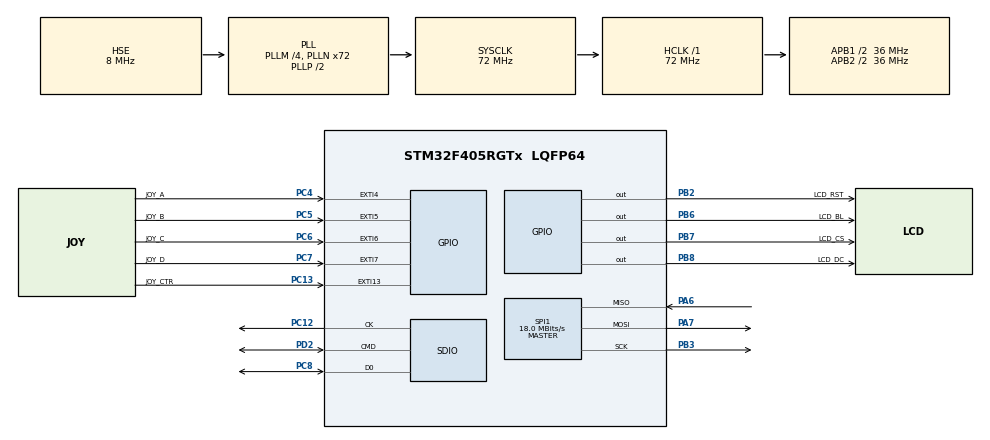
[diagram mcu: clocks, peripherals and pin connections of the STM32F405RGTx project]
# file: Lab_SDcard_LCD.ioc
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Mcu.Family=STM32F4
Mcu.Name=STM32F405RGTx
Mcu.Package=LQFP64
NVIC.EXTI15_10_IRQn=true\:1\:0\:true\:false\:true\:true\:true\:true
NVIC.EXTI4_IRQn=true\:1\:0\:true\:false\:true\:true\:true\:true
NVIC.EXTI9_5_IRQn=true\:1\:0\:true\:false\:true\:true\:true\:true
NVIC.PriorityGroup=NVIC_PRIORITYGROUP_4
NVIC.SDIO_IRQn=true\:0\:0\:false\:false\:true\:true\:true\:true
NVIC.SPI1_IRQn=true\:0\:0\:false\:false\:true\:true\:true\:true
PA13.Mode=Serial_Wire
PA13.Signal=SYS_JTMS-SWDIO
PA14.Mode=Serial_Wire
PA14.Signal=SYS_JTCK-SWCLK
PA6.Mode=Full_Duplex_Master
PA6.Signal=SPI1_MISO
PA7.Mode=Full_Duplex_Master
PA7.Signal=SPI1_MOSI
PB2.GPIO_Label=LCD_RST
PB2.Signal=GPIO_Output
PB3.Mode=Full_Duplex_Master
PB3.Signal=SPI1_SCK
PB6.GPIO_Label=LCD_BL
PB6.Signal=GPIO_Output
PB7.GPIO_Label=LCD_CS
PB7.Signal=GPIO_Output
PB8.GPIO_Label=LCD_DC
PB8.Signal=GPIO_Output
PC12.Mode=SD_1_bit
PC12.Signal=SDIO_CK
PC13-ANTI_TAMP.GPIO_Label=JOY_CTR
PC13-ANTI_TAMP.GPIO_ModeDefaultEXTI=GPIO_MODE_IT_FALLING
PC13-ANTI_TAMP.GPIO_PuPd=GPIO_PULLUP
PC13-ANTI_TAMP.Signal=GPXTI13
PC4.GPIO_Label=JOY_A
PC4.GPIO_ModeDefaultEXTI=GPIO_MODE_IT_FALLING
PC4.GPIO_PuPd=GPIO_PULLUP
PC4.Signal=GPXTI4
PC5.GPIO_Label=JOY_B
PC5.GPIO_ModeDefaultEXTI=GPIO_MODE_IT_FALLING
PC5.GPIO_PuPd=GPIO_PULLUP
PC5.Signal=GPXTI5
PC6.GPIO_Label=JOY_C
PC6.GPIO_ModeDefaultEXTI=GPIO_MODE_IT_FALLING
PC6.GPIO_PuPd=GPIO_PULLUP
PC6.Signal=GPXTI6
PC7.GPIO_Label=JOY_D
PC7.GPIO_ModeDefaultEXTI=GPIO_MODE_IT_FALLING
PC7.GPIO_PuPd=GPIO_PULLUP
PC7.Signal=GPXTI7
PC8.Mode=SD_1_bit
PC8.Signal=SDIO_D0
PD2.Mode=SD_1_bit
PD2.Signal=SDIO_CMD
PH0-OSC_IN.Mode=HSE-External-Oscillator
PH0-OSC_IN.Signal=RCC_OSC_IN
PH1-OSC_OUT.Mode=HSE-External-Oscillator
PH1-OSC_OUT.Signal=RCC_OSC_OUT
ProjectManager.HeapSize=0x200
ProjectManager.StackSize=0x400
ProjectManager.TargetToolchain=STM32CubeIDE
RCC.48MHZClocksFreq_Value=48000000
RCC.AHBFreq_Value=72000000
RCC.APB1CLKDivider=RCC_HCLK_DIV2
RCC.APB1Freq_Value=36000000
RCC.APB1TimFreq_Value=72000000
RCC.APB2CLKDivider=RCC_HCLK_DIV2
RCC.APB2Freq_Value=36000000
RCC.APB2TimFreq_Value=72000000
RCC.CortexFreq_Value=72000000
RCC.HCLKFreq_Value=72000000
RCC.HSE_VALUE=8000000
RCC.HSI_VALUE=16000000
RCC.LSE_VALUE=32768
RCC.PLLM=4
RCC.PLLN=72
RCC.PLLQ=3
RCC.PLLSourceVirtual=RCC_PLLSOURCE_HSE
RCC.SYSCLKFreq_VALUE=72000000
RCC.SYSCLKSource=RCC_SYSCLKSOURCE_PLLCLK
RCC.VCOOutputFreq_Value=144000000
SDIO.ClockDiv=10
SPI1.BaudRatePrescaler=SPI_BAUDRATEPRESCALER_2
SPI1.CLKPolarity=SPI_POLARITY_HIGH
SPI1.CalculateBaudRate=18.0 MBits/s
SPI1.Direction=SPI_DIRECTION_2LINES
SPI1.Mode=SPI_MODE_MASTER
SPI1.VirtualType=VM_MASTER
VP_FATFS_VS_SDIO.Mode=SDIO
board=custom

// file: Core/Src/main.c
/* USER CODE BEGIN Header */
/**
  ******************************************************************************
  * @file           : main.c
  * @brief          : Main program body
  ******************************************************************************
  * @attention
  *
  * Copyright (c) 2023 STMicroelectronics.
  * All rights reserved.
  *
  * This software is licensed under terms that can be found in the LICENSE file
  * in the root directory of this software component.
  * If no LICENSE file comes with this software, it is provided AS-IS.
  *
  ******************************************************************************
  */
/* USER CODE END Header */
#include "main.h"
#include "fatfs.h"

/* USER CODE BEGIN Includes */
#include "system.h"
/* USER CODE END Includes */

SD_HandleTypeDef hsd;

SPI_HandleTypeDef hspi1;

void SystemClock_Config(void);
static void MX_GPIO_Init(void);
static void MX_SPI1_Init(void);
static void MX_SDIO_SD_Init(void);

int main(void)
{

  /* MCU Configuration--------------------------------------------------------*/

  /* Reset of all peripherals, Initializes the Flash interface and the Systick. */
  HAL_Init();

  /* Configure the system clock */
  SystemClock_Config();

  /* Initialize all configured peripherals */
  MX_GPIO_Init();
  MX_SPI1_Init();
  MX_SDIO_SD_Init();
  MX_FATFS_Init();
  /* USER CODE BEGIN 2 */
  system_init();

  /* USER CODE END 2 */

  /* Infinite loop */
  /* USER CODE BEGIN WHILE */
  while (1)
  {
    system_process();
    /* USER CODE END WHILE */

  }
}

void SystemClock_Config(void)
{
  RCC_OscInitTypeDef RCC_OscInitStruct = {0};
  RCC_ClkInitTypeDef RCC_ClkInitStruct = {0};

  /** Configure the main internal regulator output voltage
  */
  __HAL_RCC_PWR_CLK_ENABLE();
  __HAL_PWR_VOLTAGESCALING_CONFIG(PWR_REGULATOR_VOLTAGE_SCALE1);

  /** Initializes the RCC Oscillators according to the specified parameters
  * in the RCC_OscInitTypeDef structure.
  */
  RCC_OscInitStruct.OscillatorType = RCC_OSCILLATORTYPE_HSE;
  RCC_OscInitStruct.HSEState = RCC_HSE_ON;
  RCC_OscInitStruct.PLL.PLLState = RCC_PLL_ON;
  RCC_OscInitStruct.PLL.PLLSource = RCC_PLLSOURCE_HSE;
  RCC_OscInitStruct.PLL.PLLM = 4;
  RCC_OscInitStruct.PLL.PLLN = 72;
  RCC_OscInitStruct.PLL.PLLP = RCC_PLLP_DIV2;
  RCC_OscInitStruct.PLL.PLLQ = 3;
  if (HAL_RCC_OscConfig(&RCC_OscInitStruct) != HAL_OK)
  {
    Error_Handler();
  }

  /** Initializes the CPU, AHB and APB buses clocks
  */
  RCC_ClkInitStruct.ClockType = RCC_CLOCKTYPE_HCLK|RCC_CLOCKTYPE_SYSCLK
                              |RCC_CLOCKTYPE_PCLK1|RCC_CLOCKTYPE_PCLK2;
  RCC_ClkInitStruct.SYSCLKSource = RCC_SYSCLKSOURCE_PLLCLK;
  RCC_ClkInitStruct.AHBCLKDivider = RCC_SYSCLK_DIV1;
  RCC_ClkInitStruct.APB1CLKDivider = RCC_HCLK_DIV2;
  RCC_ClkInitStruct.APB2CLKDivider = RCC_HCLK_DIV2;

  if (HAL_RCC_ClockConfig(&RCC_ClkInitStruct, FLASH_LATENCY_2) != HAL_OK)
  {
    Error_Handler();
  }
}

static void MX_SDIO_SD_Init(void)
{

  hsd.Instance = SDIO;
  hsd.Init.ClockEdge = SDIO_CLOCK_EDGE_RISING;
  hsd.Init.ClockBypass = SDIO_CLOCK_BYPASS_DISABLE;
  hsd.Init.ClockPowerSave = SDIO_CLOCK_POWER_SAVE_DISABLE;
  hsd.Init.BusWide = SDIO_BUS_WIDE_1B;
  hsd.Init.HardwareFlowControl = SDIO_HARDWARE_FLOW_CONTROL_DISABLE;
  hsd.Init.ClockDiv = 10;

}

static void MX_SPI1_Init(void)
{

  /* SPI1 parameter configuration*/
  hspi1.Instance = SPI1;
  hspi1.Init.Mode = SPI_MODE_MASTER;
  hspi1.Init.Direction = SPI_DIRECTION_2LINES;
  hspi1.Init.DataSize = SPI_DATASIZE_8BIT;
  hspi1.Init.CLKPolarity = SPI_POLARITY_HIGH;
  hspi1.Init.CLKPhase = SPI_PHASE_1EDGE;
  hspi1.Init.NSS = SPI_NSS_SOFT;
  hspi1.Init.BaudRatePrescaler = SPI_BAUDRATEPRESCALER_2;
  hspi1.Init.FirstBit = SPI_FIRSTBIT_MSB;
  hspi1.Init.TIMode = SPI_TIMODE_DISABLE;
  hspi1.Init.CRCCalculation = SPI_CRCCALCULATION_DISABLE;
  hspi1.Init.CRCPolynomial = 10;
  if (HAL_SPI_Init(&hspi1) != HAL_OK)
  {
    Error_Handler();
  }

}

static void MX_GPIO_Init(void)
{
  GPIO_InitTypeDef GPIO_InitStruct = {0};

  /* GPIO Ports Clock Enable */
  __HAL_RCC_GPIOC_CLK_ENABLE();
  __HAL_RCC_GPIOH_CLK_ENABLE();
  __HAL_RCC_GPIOA_CLK_ENABLE();
  __HAL_RCC_GPIOB_CLK_ENABLE();
  __HAL_RCC_GPIOD_CLK_ENABLE();

  /*Configure GPIO pin Output Level */
  HAL_GPIO_WritePin(GPIOB, LCD_RST_Pin|LCD_BL_Pin|LCD_CS_Pin|LCD_DC_Pin, GPIO_PIN_RESET);

  /*Configure GPIO pins : JOY_CTR_Pin JOY_A_Pin JOY_B_Pin JOY_C_Pin
                           JOY_D_Pin */
  GPIO_InitStruct.Pin = JOY_CTR_Pin|JOY_A_Pin|JOY_B_Pin|JOY_C_Pin
                          |JOY_D_Pin;
  GPIO_InitStruct.Mode = GPIO_MODE_IT_FALLING;
  GPIO_InitStruct.Pull = GPIO_PULLUP;
  HAL_GPIO_Init(GPIOC, &GPIO_InitStruct);

  /*Configure GPIO pins : LCD_RST_Pin LCD_BL_Pin LCD_CS_Pin LCD_DC_Pin */
  GPIO_InitStruct.Pin = LCD_RST_Pin|LCD_BL_Pin|LCD_CS_Pin|LCD_DC_Pin;
  GPIO_InitStruct.Mode = GPIO_MODE_OUTPUT_PP;
  GPIO_InitStruct.Pull = GPIO_NOPULL;
  GPIO_InitStruct.Speed = GPIO_SPEED_FREQ_LOW;
  HAL_GPIO_Init(GPIOB, &GPIO_InitStruct);

  /* EXTI interrupt init*/
  HAL_NVIC_SetPriority(EXTI4_IRQn, 1, 0);
  HAL_NVIC_EnableIRQ(EXTI4_IRQn);

  HAL_NVIC_SetPriority(EXTI9_5_IRQn, 1, 0);
  HAL_NVIC_EnableIRQ(EXTI9_5_IRQn);

  HAL_NVIC_SetPriority(EXTI15_10_IRQn, 1, 0);
  HAL_NVIC_EnableIRQ(EXTI15_10_IRQn);

}

/* USER CODE BEGIN 4 */
void HAL_GPIO_EXTI_Callback(uint16_t GPIO_Pin)
{
  switch (GPIO_Pin)
  {
  case JOY_A_Pin:
  {
    if(sys_state == STATE_DISPLAY_FILE)
    {
      detect_state_change = true;
      sys_state = STATE_MENU;
    }

    break;
  }
  case JOY_B_Pin:
  {
    if (sys_state == STATE_MENU)
    {
      if (index_file_to_read != 1)
      {
        index_file_to_read--;
      }
      bsp_display_index_choose_file();
    }
    break;
  }
  case JOY_C_Pin:
  {
    if (sys_state == STATE_MENU)
    {
      if (index_file_to_read != num_max_of_file)
      {
        index_file_to_read++;
      }
      bsp_display_index_choose_file();
    }
    break;
  }
  case JOY_D_Pin:
  {
    system_reset();
    break;
  }
  case JOY_CTR_Pin:
  {
    if(sys_state != STATE_DISPLAY_FILE)
    {
      detect_state_change = true;
      sys_state = STATE_DISPLAY_FILE;
    }
    break;
  }
  default: break;
  }
}

/* USER CODE END 4 */

void Error_Handler(void)
{
  __disable_irq();
  while (1)
  {
  }
}
